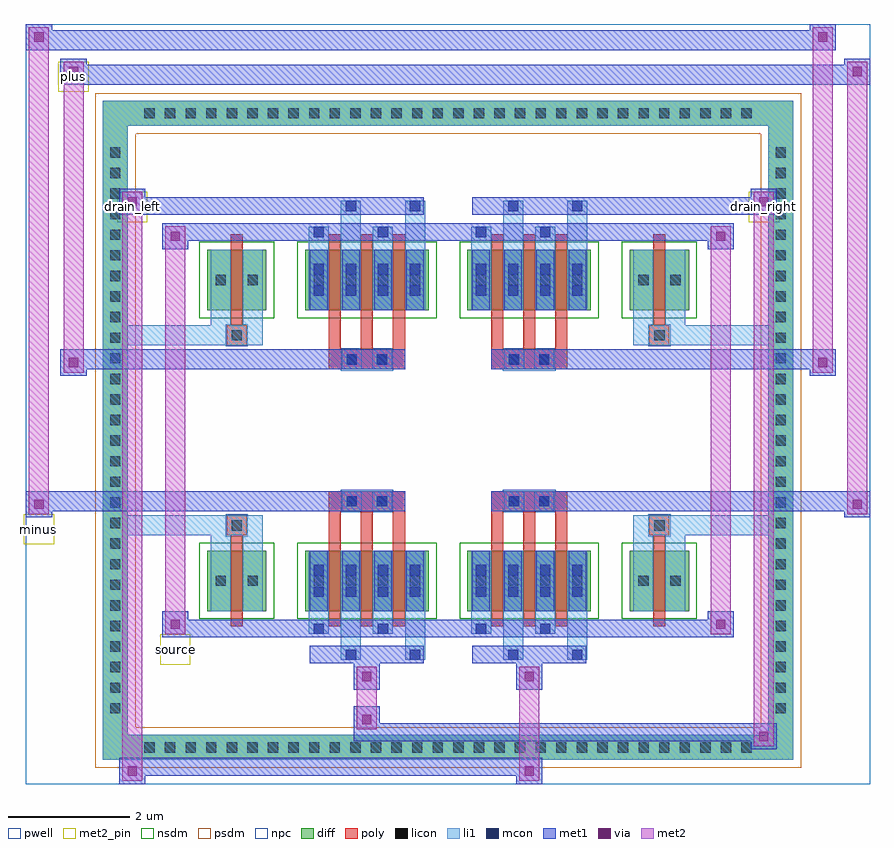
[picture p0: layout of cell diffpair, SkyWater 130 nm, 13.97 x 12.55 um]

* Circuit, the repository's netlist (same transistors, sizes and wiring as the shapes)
* NGSPICE file created from diffpair.ext - technology: sky130A

.subckt diffpair minus drain_right drain_left source plus
X0 drain_right minus source a_n1140_n1088# sky130_fd_pr__nfet_01v8 ad=0.39 pd=2.78 as=0.165 ps=1.33 w=1 l=0.2
X1 drain_right minus source a_n1140_n1088# sky130_fd_pr__nfet_01v8 ad=0.165 pd=1.33 as=0.39 ps=2.78 w=1 l=0.2
X2 drain_left plus source a_n1140_n1088# sky130_fd_pr__nfet_01v8 ad=0.39 pd=2.78 as=0.165 ps=1.33 w=1 l=0.2
X3 source plus drain_left a_n1140_n1088# sky130_fd_pr__nfet_01v8 ad=0.165 pd=1.33 as=0.165 ps=1.33 w=1 l=0.2
X4 source minus drain_right a_n1140_n1088# sky130_fd_pr__nfet_01v8 ad=0.165 pd=1.33 as=0.165 ps=1.33 w=1 l=0.2
X5 a_n1140_n1088# a_n1140_n1088# a_n1140_n1088# a_n1140_n1088# sky130_fd_pr__nfet_01v8 ad=0.39 pd=2.78 as=3.12 ps=22.24 w=1 l=0.2
X6 drain_left plus source a_n1140_n1088# sky130_fd_pr__nfet_01v8 ad=0.39 pd=2.78 as=0.165 ps=1.33 w=1 l=0.2
X7 drain_right minus source a_n1140_n1088# sky130_fd_pr__nfet_01v8 ad=0.39 pd=2.78 as=0.165 ps=1.33 w=1 l=0.2
X8 a_n1140_n1088# a_n1140_n1088# a_n1140_n1088# a_n1140_n1088# sky130_fd_pr__nfet_01v8 ad=0.39 pd=2.78 as=0 ps=0 w=1 l=0.2
X9 drain_left plus source a_n1140_n1088# sky130_fd_pr__nfet_01v8 ad=0.165 pd=1.33 as=0.39 ps=2.78 w=1 l=0.2
X10 a_n1140_n1088# a_n1140_n1088# a_n1140_n1088# a_n1140_n1088# sky130_fd_pr__nfet_01v8 ad=0.39 pd=2.78 as=0 ps=0 w=1 l=0.2
X11 drain_right minus source a_n1140_n1088# sky130_fd_pr__nfet_01v8 ad=0.165 pd=1.33 as=0.39 ps=2.78 w=1 l=0.2
X12 source minus drain_right a_n1140_n1088# sky130_fd_pr__nfet_01v8 ad=0.165 pd=1.33 as=0.165 ps=1.33 w=1 l=0.2
X13 source plus drain_left a_n1140_n1088# sky130_fd_pr__nfet_01v8 ad=0.165 pd=1.33 as=0.165 ps=1.33 w=1 l=0.2
X14 a_n1140_n1088# a_n1140_n1088# a_n1140_n1088# a_n1140_n1088# sky130_fd_pr__nfet_01v8 ad=0.39 pd=2.78 as=0 ps=0 w=1 l=0.2
X15 drain_left plus source a_n1140_n1088# sky130_fd_pr__nfet_01v8 ad=0.165 pd=1.33 as=0.39 ps=2.78 w=1 l=0.2
.ends

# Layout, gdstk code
import gdstk
lib = gdstk.Library(unit=1e-6, precision=5e-09)
def R(c, l, rs):  # rectangles x0, y0, x1, y1
    for r in rs: c.add(gdstk.rectangle(r[:2], r[2:], *l))
def A(c, l, x, y, w, h, nx, ny, dx, dy):  # array of equal rectangles
    R(c, l, [(x+i*dx, y+j*dy, x+i*dx+w, y+j*dy+h) for i in range(nx) for j in range(ny)])
def P(c, l, *ps):  # polygons
    for p in ps: c.add(gdstk.Polygon(p, *l))
pwell = (64, 44)
diff = (65, 20)
poly = (66, 20)
licon = (66, 44)
li1 = (67, 20)
mcon = (67, 44)
met1 = (68, 20)
via = (68, 44)
met2_pin = (69, 16)
met2 = (69, 20)
nsdm = (93, 44)
psdm = (94, 20)
npc = (95, 20)

diffpair = lib.new_cell('diffpair')
R(diffpair, pwell, [(-6.97,-5.84,6.97,6.71), (-4.29,-4.03,-0.01,-0.805), (0.01,-4.03,4.29,-0.805), (-4.29,0.805,-0.01,4.03), (0.01,0.805,4.29,4.03)])
A(diffpair, diff, -5.135, -5.44, 0.41, 0.41, 30, 2, 0.34, 10.47)
A(diffpair, diff, -5.7, -4.795, 0.41, 0.41, 1, 28, 0, 0.34)
A(diffpair, diff, 5.29, -4.795, 0.41, 0.41, 1, 28, 0, 0.34)
R(diffpair, diff, [(-5.135,-5.44,5.135,-5.03), (-5.7,-4.795,-5.29,4.795), (5.29,-4.795,5.7,4.795), (-3.98,-2.985,-3,-1.985), (-2.36,-2.985,-0.32,-1.985), (0.32,-2.985,2.36,-1.985), (3,-2.985,3.98,-1.985), (-3.98,1.985,-3,2.985), (-2.36,1.985,-0.32,2.985), (0.32,1.985,2.36,2.985), (3,1.985,3.98,2.985), (-5.135,5.03,5.135,5.44)])
P(diffpair, diff, [(5.7,5.44),(-5.7,5.44),(-5.7,-5.03),(-5.29,-5.03),(-5.29,5.03),(5.29,5.03),(5.29,-5.03),(-5.29,-5.03),(-5.7,-5.03),(-5.7,-5.44),(5.7,-5.44)])
A(diffpair, poly, -1.97, -3.235, 0.2, 1.5, 3, 2, 0.53, 4.97)
A(diffpair, poly, 0.71, -3.235, 0.2, 1.5, 3, 2, 0.53, 4.97)
A(diffpair, poly, -1.97, -1.735, 0.2, 0.4, 3, 2, 0.53, 3.07)
A(diffpair, poly, 0.71, -1.735, 0.2, 0.4, 3, 2, 0.53, 3.07)
R(diffpair, poly, [(-3.59,-3.235,-3.39,-1.735), (3.39,-3.235,3.59,-1.735), (-3.655,-1.735,-3.325,-1.405), (-3.655,-1.735,-3.325,-1.405), (3.325,-1.735,3.655,-1.405), (3.325,-1.735,3.655,-1.405), (-1.97,-1.335,-0.71,-1.005), (-1.755,-1.335,-1.425,-1.005), (-1.255,-1.335,-0.925,-1.005), (0.71,-1.335,1.97,-1.005), (0.925,-1.335,1.255,-1.005), (1.425,-1.335,1.755,-1.005), (-1.97,1.005,-0.71,1.335), (-1.755,1.005,-1.425,1.335), (-1.255,1.005,-0.925,1.335), (0.71,1.005,1.97,1.335), (0.925,1.005,1.255,1.335), (1.425,1.005,1.755,1.335), (-3.655,1.405,-3.325,1.735), (-3.655,1.405,-3.325,1.735), (3.325,1.405,3.655,1.735), (3.325,1.405,3.655,1.735), (-3.59,1.735,-3.39,3.235), (3.39,1.735,3.59,3.235)])
A(diffpair, licon, -5.015, -5.32, 0.17, 0.17, 30, 2, 0.34, 10.47)
A(diffpair, licon, -5.58, -4.675, 0.17, 0.17, 1, 28, 0, 0.34)
A(diffpair, licon, 5.41, -4.675, 0.17, 0.17, 1, 28, 0, 0.34)
A(diffpair, licon, -2.22, -2.57, 0.17, 0.17, 4, 2, 0.53, 4.97)
A(diffpair, licon, 0.46, -2.57, 0.17, 0.17, 4, 2, 0.53, 4.97)
R(diffpair, licon, [(-3.84,-2.57,-3.67,-2.4), (-3.31,-2.57,-3.14,-2.4), (3.14,-2.57,3.31,-2.4), (3.67,-2.57,3.84,-2.4), (-3.575,-1.655,-3.405,-1.485), (3.405,-1.655,3.575,-1.485), (-1.675,-1.255,-1.505,-1.085), (-1.175,-1.255,-1.005,-1.085), (1.005,-1.255,1.175,-1.085), (1.505,-1.255,1.675,-1.085), (-1.675,1.085,-1.505,1.255), (-1.175,1.085,-1.005,1.255), (1.005,1.085,1.175,1.255), (1.505,1.085,1.675,1.255), (-3.575,1.485,-3.405,1.655), (3.405,1.485,3.575,1.655), (-3.84,2.4,-3.67,2.57), (-3.31,2.4,-3.14,2.57), (3.14,2.4,3.31,2.57), (3.67,2.4,3.84,2.57)])
A(diffpair, li1, -5.095, -5.4, 0.33, 0.33, 30, 2, 0.34, 10.47)
A(diffpair, li1, -5.66, -4.755, 0.33, 0.33, 1, 28, 0, 0.34)
A(diffpair, li1, 5.33, -4.755, 0.33, 0.33, 1, 28, 0, 0.34)
A(diffpair, li1, -2.3, -2.985, 0.33, 1, 4, 2, 0.53, 4.97)
A(diffpair, li1, 0.38, -2.985, 0.33, 1, 4, 2, 0.53, 4.97)
A(diffpair, li1, -2.22, -2.75, 0.17, 0.17, 4, 2, 0.53, 0.36)
A(diffpair, li1, -2.22, -2.75, 0.17, 0.53, 4, 2, 0.53, 4.97)
A(diffpair, li1, 0.46, -2.75, 0.17, 0.17, 4, 2, 0.53, 0.36)
A(diffpair, li1, 0.46, -2.75, 0.17, 0.53, 4, 2, 0.53, 4.97)
A(diffpair, li1, -2.3, -2.65, 0.33, 0.33, 4, 2, 0.53, 4.97)
A(diffpair, li1, 0.38, -2.65, 0.33, 0.33, 4, 2, 0.53, 4.97)
A(diffpair, li1, -2.22, 2.22, 0.17, 0.17, 4, 2, 0.53, 0.36)
A(diffpair, li1, 0.46, 2.22, 0.17, 0.17, 4, 2, 0.53, 0.36)
R(diffpair, li1, [(-5.7,-5.44,-5.29,-5.03), (-5.7,-5.44,-5.29,-5.03), (-5.29,-5.44,5.29,-5.03), (5.29,-5.44,5.7,-5.03), (5.29,-5.44,5.7,-5.03), (-5.7,-5.03,-5.29,5.03), (5.29,-5.03,5.7,5.03), (-1.77,-3.79,-1.44,-2.985), (-1.69,-3.79,-1.52,-3.62), (-0.71,-3.79,-0.38,-2.985), (-0.63,-3.79,-0.46,-3.62), (0.91,-3.79,1.24,-2.985), (0.99,-3.79,1.16,-3.62), (1.97,-3.79,2.3,-2.985), (2.05,-3.79,2.22,-3.62), (-2.3,-3.36,-1.97,-2.985), (-2.22,-3.36,-2.05,-3.19), (-1.24,-3.36,-0.91,-2.985), (-1.16,-3.36,-0.99,-3.19), (0.38,-3.36,0.71,-2.985), (0.46,-3.36,0.63,-3.19), (1.44,-3.36,1.77,-2.985), (1.52,-3.36,1.69,-3.19), (-3.92,-2.985,-3.59,-1.985), (-3.39,-2.985,-3.06,-1.985), (3.06,-2.985,3.39,-1.985), (3.59,-2.985,3.92,-1.985), (-3.92,-2.65,-3.59,-2.32), (-3.39,-2.65,-3.06,-2.32), (3.06,-2.65,3.39,-2.32), (3.59,-2.65,3.92,-2.32), (-3.92,-1.985,-3.59,-1.405), (-3.39,-1.985,-3.06,-1.405), (3.06,-1.985,3.39,-1.405), (3.59,-1.985,3.92,-1.405), (-5.7,-1.735,-3.655,-1.405), (-3.92,-1.735,-3.655,-1.405), (-3.655,-1.735,-3.325,-1.405), (-3.325,-1.735,-3.06,-1.405), (3.06,-1.735,3.325,-1.405), (3.325,-1.735,3.655,-1.405), (3.325,-1.735,5.7,-1.405), (3.655,-1.735,3.92,-1.405), (-1.755,-1.335,-1.425,-1.005), (-1.255,-1.335,-0.925,-1.005), (0.925,-1.335,1.255,-1.005), (1.425,-1.335,1.755,-1.005), (-1.755,1.005,-1.425,1.335), (-1.255,1.005,-0.925,1.335), (0.925,1.005,1.255,1.335), (1.425,1.005,1.755,1.335), (-5.7,1.405,-3.655,1.735), (-3.92,1.405,-3.655,1.735), (-3.92,1.405,-3.59,1.985), (-3.655,1.405,-3.325,1.735), (-3.39,1.405,-3.06,1.985), (-3.325,1.405,-3.06,1.735), (3.06,1.405,3.325,1.735), (3.06,1.405,3.39,1.985), (3.325,1.405,3.655,1.735), (3.325,1.405,5.7,1.735), (3.59,1.405,3.92,1.985), (3.655,1.405,3.92,1.735), (-3.92,1.985,-3.59,2.985), (-3.39,1.985,-3.06,2.985), (3.06,1.985,3.39,2.985), (3.59,1.985,3.92,2.985), (-3.92,2.32,-3.59,2.65), (-3.39,2.32,-3.06,2.65), (3.06,2.32,3.39,2.65), (3.59,2.32,3.92,2.65), (-2.3,2.985,-1.97,3.36), (-1.77,2.985,-1.44,3.79), (-1.24,2.985,-0.91,3.36), (-0.71,2.985,-0.38,3.79), (0.38,2.985,0.71,3.36), (0.91,2.985,1.24,3.79), (1.44,2.985,1.77,3.36), (1.97,2.985,2.3,3.79), (-2.22,3.19,-2.05,3.36), (-1.16,3.19,-0.99,3.36), (0.46,3.19,0.63,3.36), (1.52,3.19,1.69,3.36), (-1.69,3.62,-1.52,3.79), (-0.63,3.62,-0.46,3.79), (0.99,3.62,1.16,3.79), (2.05,3.62,2.22,3.79), (-5.7,5.03,-5.29,5.44), (-5.7,5.03,-5.29,5.44), (-5.29,5.03,5.29,5.44), (5.29,5.03,5.7,5.44), (5.29,5.03,5.7,5.44)])
A(diffpair, mcon, -2.22, -2.75, 0.17, 0.17, 4, 2, 0.53, 0.36)
A(diffpair, mcon, 0.46, -2.75, 0.17, 0.17, 4, 2, 0.53, 0.36)
A(diffpair, mcon, -2.22, 2.22, 0.17, 0.17, 4, 2, 0.53, 0.36)
A(diffpair, mcon, 0.46, 2.22, 0.17, 0.17, 4, 2, 0.53, 0.36)
R(diffpair, mcon, [(-1.69,-3.79,-1.52,-3.62), (-0.63,-3.79,-0.46,-3.62), (0.99,-3.79,1.16,-3.62), (2.05,-3.79,2.22,-3.62), (-2.22,-3.36,-2.05,-3.19), (-1.16,-3.36,-0.99,-3.19), (0.46,-3.36,0.63,-3.19), (1.52,-3.36,1.69,-3.19), (-1.675,-1.255,-1.505,-1.085), (-1.175,-1.255,-1.005,-1.085), (1.005,-1.255,1.175,-1.085), (1.505,-1.255,1.675,-1.085), (-1.675,1.085,-1.505,1.255), (-1.175,1.085,-1.005,1.255), (1.005,1.085,1.175,1.255), (1.505,1.085,1.675,1.255), (-2.22,3.19,-2.05,3.36), (-1.16,3.19,-0.99,3.36), (0.46,3.19,0.63,3.36), (1.52,3.19,1.69,3.36), (-1.69,3.62,-1.52,3.79), (-0.63,3.62,-0.46,3.79), (0.99,3.62,1.16,3.79), (2.05,3.62,2.22,3.79)])
A(diffpair, met1, -2.28, -2.985, 0.29, 1, 4, 2, 0.53, 4.97)
A(diffpair, met1, 0.4, -2.985, 0.29, 1, 4, 2, 0.53, 4.97)
A(diffpair, met1, -2.28, -2.81, 0.29, 0.29, 4, 2, 0.53, 0.36)
A(diffpair, met1, 0.4, -2.81, 0.29, 0.29, 4, 2, 0.53, 0.36)
A(diffpair, met1, -2.28, 2.16, 0.29, 0.29, 4, 2, 0.53, 0.36)
A(diffpair, met1, 0.4, 2.16, 0.29, 0.29, 4, 2, 0.53, 0.36)
R(diffpair, met1, [(-5.43,-5.84,-5,-5.41), (1.125,-5.84,1.555,-5.41), (-5.43,-5.7,1.555,-5.41), (5,-5.27,5.43,-4.84), (-1.555,-5.13,5.43,-4.84), (-1.555,-4.99,-1.125,-4.56), (-1.555,-4.28,-1.125,-3.85), (1.125,-4.28,1.555,-3.85), (-2.28,-3.85,-0.4,-3.56), (-1.75,-3.85,-1.46,-3.56), (-0.69,-3.85,-0.4,-3.56), (0.4,-3.85,2.28,-3.56), (0.93,-3.85,1.22,-3.56), (1.99,-3.85,2.28,-3.56), (-4.72,-3.42,-4.29,-2.99), (-4.72,-3.42,-2.28,-3.13), (-2.28,-3.42,-1.99,-3.13), (-2.28,-3.42,-0.4,-3.13), (-1.22,-3.42,-0.93,-3.13), (-0.4,-3.42,0.4,-3.13), (0.4,-3.42,0.69,-3.13), (0.4,-3.42,2.28,-3.13), (1.46,-3.42,1.75,-3.13), (2.28,-3.42,4.72,-3.13), (4.29,-3.42,4.72,-2.99), (-6.97,-1.435,-6.54,-1.005), (6.54,-1.435,6.97,-1.005), (-6.97,-1.335,-0.71,-1.005), (-1.97,-1.335,-0.71,-1.005), (0.71,-1.335,1.97,-1.005), (0.71,-1.335,6.97,-1.005), (-1.735,-1.315,-1.445,-1.025), (-1.235,-1.315,-0.945,-1.025), (0.945,-1.315,1.235,-1.025), (1.445,-1.315,1.735,-1.025), (-6.4,0.905,-5.97,1.335), (5.97,0.905,6.4,1.335), (-6.4,1.005,-1.97,1.335), (-1.97,1.005,-0.71,1.335), (0.71,1.005,1.97,1.335), (1.97,1.005,6.4,1.335), (-1.735,1.025,-1.445,1.315), (-1.235,1.025,-0.945,1.315), (0.945,1.025,1.235,1.315), (1.445,1.025,1.735,1.315), (-4.72,2.99,-4.29,3.42), (4.29,2.99,4.72,3.42), (-4.72,3.13,-2.28,3.42), (-2.28,3.13,-1.99,3.42), (-2.28,3.13,-0.4,3.42), (-1.22,3.13,-0.93,3.42), (-0.4,3.13,0.4,3.42), (0.4,3.13,0.69,3.42), (0.4,3.13,2.28,3.42), (1.46,3.13,1.75,3.42), (2.28,3.13,4.72,3.42), (-5.43,3.56,-5,3.99), (-5.43,3.56,-2.28,3.85), (-2.28,3.56,-0.4,3.85), (-1.75,3.56,-1.46,3.85), (-0.69,3.56,-0.4,3.85), (0.4,3.56,2.28,3.85), (0.93,3.56,1.22,3.85), (1.99,3.56,2.28,3.85), (2.28,3.56,5.43,3.85), (5,3.56,5.43,3.99), (-6.4,5.71,-5.97,6.14), (-6.4,5.71,-4.29,6.04), (-4.29,5.71,4.29,6.04), (4.29,5.71,6.97,6.04), (6.54,5.71,6.97,6.14), (-6.97,6.28,-6.54,6.71), (-6.97,6.28,-4.29,6.61), (-4.29,6.28,4.29,6.61), (4.29,6.28,6.4,6.61), (5.97,6.28,6.4,6.71)])
R(diffpair, via, [(-5.29,-5.7,-5.14,-5.55), (1.265,-5.7,1.415,-5.55), (5.14,-5.13,5.29,-4.98), (-1.415,-4.85,-1.265,-4.7), (-1.415,-4.14,-1.265,-3.99), (1.265,-4.14,1.415,-3.99), (-4.58,-3.28,-4.43,-3.13), (4.43,-3.28,4.58,-3.13), (-6.83,-1.295,-6.68,-1.145), (6.68,-1.295,6.83,-1.145), (-6.26,1.045,-6.11,1.195), (6.11,1.045,6.26,1.195), (-4.58,3.13,-4.43,3.28), (4.43,3.13,4.58,3.28), (-5.29,3.7,-5.14,3.85), (5.14,3.7,5.29,3.85), (-6.26,5.85,-6.11,6), (6.68,5.85,6.83,6), (-6.83,6.42,-6.68,6.57), (6.11,6.42,6.26,6.57)])
R(diffpair, met2_pin, [(-4.755,-3.87,-4.255,-3.37), (-7.005,-1.885,-6.505,-1.385), (-5.465,3.44,-4.965,3.94), (4.965,3.44,5.465,3.94), (-6.435,5.59,-5.935,6.09)])
R(diffpair, met2, [(-5.38,-5.79,-5.05,-5.46), (-5.38,-5.79,-5.05,3.94), (1.175,-5.79,1.505,-5.46), (1.175,-5.46,1.505,-4.23), (5.05,-5.22,5.38,-4.89), (5.05,-5.22,5.38,3.94), (-1.505,-4.94,-1.175,-4.61), (-1.505,-4.61,-1.175,-4.23), (-1.505,-4.23,-1.175,-3.9), (1.175,-4.23,1.505,-3.9), (-4.67,-3.37,-4.34,-3.04), (-4.67,-3.37,-4.34,3.37), (4.34,-3.37,4.67,-3.04), (4.34,-3.37,4.67,3.37), (-6.92,-1.385,-6.59,-1.055), (-6.92,-1.385,-6.59,6.66), (6.59,-1.385,6.92,-1.055), (6.59,-1.385,6.92,6.09), (-6.35,0.955,-6.02,1.285), (-6.35,0.955,-6.02,6.09), (6.02,0.955,6.35,1.285), (6.02,0.955,6.35,6.66), (-4.67,3.04,-4.34,3.37), (4.34,3.04,4.67,3.37), (-5.38,3.61,-5.05,3.94), (5.05,3.61,5.38,3.94), (-6.35,5.76,-6.02,6.09), (6.59,5.76,6.92,6.09), (-6.92,6.33,-6.59,6.66), (6.02,6.33,6.35,6.66)])
P(diffpair, met2, [(6.92,-1.385),(6.92,-1.385),(6.92,-1.055),(6.92,-1.055)],
  [(6.92,5.76),(6.92,5.76),(6.92,6.09),(6.92,6.09)],
  [(-6.59,-1.385),(-6.59,-1.385),(-6.59,-1.055),(-6.59,-1.055)],
  [(-6.59,6.33),(-6.59,6.33),(-6.59,6.66),(-6.59,6.66)],
  [(6.35,0.955),(6.35,0.955),(6.35,1.285),(6.35,1.285)],
  [(6.35,6.33),(6.35,6.33),(6.35,6.66),(6.35,6.66)],
  [(-6.02,0.955),(-6.02,0.955),(-6.02,1.285),(-6.02,1.285)],
  [(-6.02,5.76),(-6.02,5.76),(-6.02,6.09),(-6.02,6.09)],
  [(-5.05,-5.79),(-5.05,-5.79),(-5.05,-5.46),(-5.05,-5.46)],
  [(-5.05,3.61),(-5.05,3.61),(-5.05,3.94),(-5.05,3.94)],
  [(5.38,-5.22),(5.38,-5.22),(5.38,-4.89),(5.38,-4.89)],
  [(5.38,3.61),(5.38,3.61),(5.38,3.94),(5.38,3.94)],
  [(-4.34,-3.37),(-4.34,-3.37),(-4.34,-3.04),(-4.34,-3.04)],
  [(-4.34,3.04),(-4.34,3.04),(-4.34,3.37),(-4.34,3.37)],
  [(4.67,-3.37),(4.67,-3.37),(4.67,-3.04),(4.67,-3.04)],
  [(4.67,3.04),(4.67,3.04),(4.67,3.37),(4.67,3.37)])
R(diffpair, nsdm, [(-4.11,-3.115,-2.87,-1.855), (-2.49,-3.115,-0.19,-1.855), (0.19,-3.115,2.49,-1.855), (2.87,-3.115,4.11,-1.855), (-4.11,1.855,-2.87,3.115), (-2.49,1.855,-0.19,3.115), (0.19,1.855,2.49,3.115), (2.87,1.855,4.11,3.115)])
P(diffpair, psdm, [(5.83,5.57),(-5.83,5.57),(-5.83,-4.9),(-5.16,-4.9),(-5.16,4.9),(5.16,4.9),(5.16,-4.9),(-5.16,-4.9),(-5.83,-4.9),(-5.83,-5.57),(5.83,-5.57)])
R(diffpair, npc, [(-3.675,-1.755,-3.305,-1.385), (3.305,-1.755,3.675,-1.385), (-1.775,-1.355,-1.405,-0.985), (-1.775,-1.355,-0.905,-0.985), (-1.775,-1.355,-0.905,-0.985), (-1.275,-1.355,-0.905,-0.985), (0.905,-1.355,1.275,-0.985), (0.905,-1.355,1.775,-0.985), (0.905,-1.355,1.775,-0.985), (1.405,-1.355,1.775,-0.985), (-1.775,0.985,-1.405,1.355), (-1.775,0.985,-0.905,1.355), (-1.775,0.985,-0.905,1.355), (-1.275,0.985,-0.905,1.355), (0.905,0.985,1.275,1.355), (0.905,0.985,1.775,1.355), (0.905,0.985,1.775,1.355), (1.405,0.985,1.775,1.355), (-3.675,1.385,-3.305,1.755), (3.305,1.385,3.675,1.755)])
diffpair.add(gdstk.Label('minus', (-6.755,-1.635), layer=69, texttype=5))
diffpair.add(gdstk.Label('drain_right', (5.215,3.69), layer=69, texttype=5))
diffpair.add(gdstk.Label('drain_left', (-5.215,3.69), layer=69, texttype=5))
diffpair.add(gdstk.Label('source', (-4.505,-3.62), layer=69, texttype=5))
diffpair.add(gdstk.Label('plus', (-6.185,5.84), layer=69, texttype=5))

lib.write_gds('diffpair.gds')
